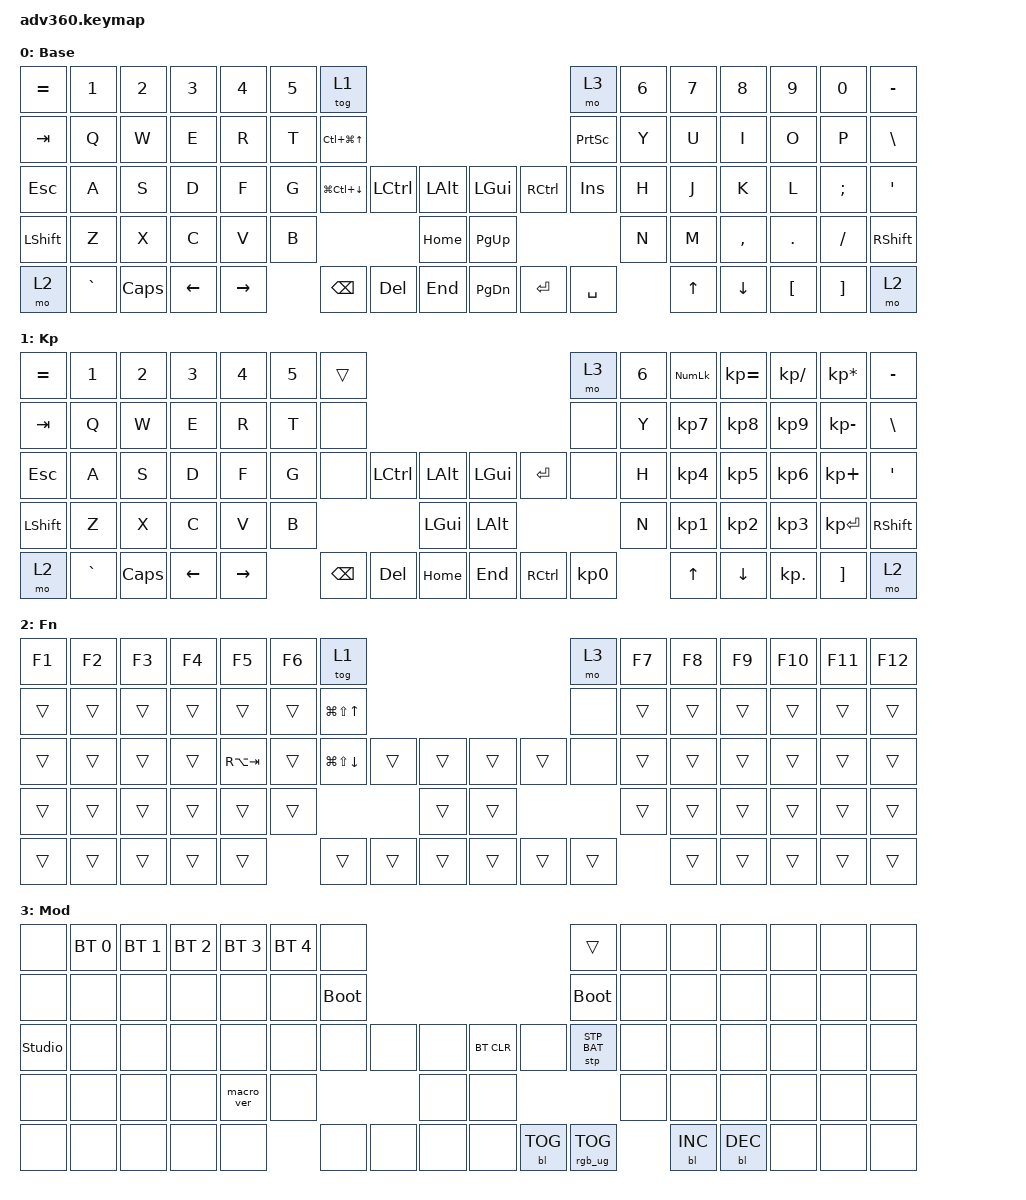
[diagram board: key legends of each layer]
#include <dt-bindings/zmk/stp.h>
#include <behaviors.dtsi>
#include <dt-bindings/zmk/backlight.h>
#include <dt-bindings/zmk/bt.h>
#include <dt-bindings/zmk/keys.h>
#include <dt-bindings/zmk/rgb.h>

/ {
    behaviors {
        #include "macros.dtsi"
      #include "version.dtsi"

        hm: homerow_mods {
            compatible = "zmk,behavior-hold-tap";
            label = "HOMEROW_MODS";
            #binding-cells = <2>;
            tapping-term-ms = <200>;
            quick_tap_ms = <175>;
            flavor = "tap-preferred";
            bindings = <&kp>, <&kp>;
        };
    };

    macros {
        workspace_up: workspace_up {
            compatible = "zmk,behavior-macro";
            #binding-cells = <0>;
            bindings = <&kp RCTRL &kp LGUI &kp UP>, <&macro_press>;

            label = "WORKSPACE_UP";
        };

        workspace_down: workspace_down {
            compatible = "zmk,behavior-macro";
            #binding-cells = <0>;
            bindings = <&kp RCTRL &kp LGUI &kp DOWN>;
            label = "WORKSPACE_DOWN";
        };

        move_to_workspace_up: move_to_workspace_up {
            compatible = "zmk,behavior-macro";
            #binding-cells = <0>;
            bindings = <&kp LEFT_SHIFT &kp LGUI &kp UP_ARROW>;
            label = "MOVE_TO_WORKSPACE_UP";
        };

        move_to_workspace_down: move_to_workspace_down {
            compatible = "zmk,behavior-macro";
            #binding-cells = <0>;
            bindings = <&kp LEFT_SHIFT &kp LEFT_GUI &kp DOWN>;
            label = "MOVE_TO_WORKSPACE_DOWN";
        };
    };

    keymap {
        compatible = "zmk,keymap";

        default_layer {
            display-name = "Base";
            bindings = <
&kp EQUAL  &kp N1     &kp N2    &kp N3    &kp N4     &kp N5  &tog 1                                                                   &mo 3            &kp N6  &kp N7  &kp N8     &kp N9    &kp N0    &kp MINUS
&kp TAB    &kp Q      &kp W     &kp E     &kp R      &kp T   &kp LC(LG(UP_ARROW))                                                     &kp PRINTSCREEN  &kp Y   &kp U   &kp I      &kp O     &kp P     &kp BSLH
&kp ESC    &kp A      &kp S     &kp D     &kp F      &kp G   &kp LG(LC(DOWN))      &kp LCTRL  &kp LALT      &kp LGUI       &kp RCTRL  &kp INS          &kp H   &kp J   &kp K      &kp L     &kp SEMI  &kp SQT
&kp LSHFT  &kp Z      &kp X     &kp C     &kp V      &kp B                                    &kp HOME      &kp PG_UP                                  &kp N   &kp M   &kp COMMA  &kp DOT   &kp FSLH  &kp RSHFT
&mo 2      &kp GRAVE  &kp CAPS  &kp LEFT  &kp RIGHT          &kp BSPC              &kp DEL    &kp END       &kp PAGE_DOWN  &kp ENTER  &kp SPACE                &kp UP  &kp DOWN   &kp LBKT  &kp RBKT  &mo 2
            >;
        };

        keypad {
            display-name = "Kp";
            bindings = <
&kp EQUAL  &kp N1     &kp N2    &kp N3    &kp N4     &kp N5  &trans                                                  &mo 3      &kp N6  &kp KP_NUM  &kp KP_EQUAL  &kp KP_DIVIDE  &kp KP_MULTIPLY  &kp MINUS
&kp TAB    &kp Q      &kp W     &kp E     &kp R      &kp T   &none                                                   &none      &kp Y   &kp KP_N7   &kp KP_N8     &kp KP_N9      &kp KP_MINUS     &kp BSLH
&kp ESC    &kp A      &kp S     &kp D     &kp F      &kp G   &none     &kp LCTRL  &kp LALT      &kp LGUI  &kp ENTER  &none      &kp H   &kp KP_N4   &kp KP_N5     &kp KP_N6      &kp KP_PLUS      &kp SQT
&kp LSHFT  &kp Z      &kp X     &kp C     &kp V      &kp B                        &kp LGUI      &kp LALT                        &kp N   &kp KP_N1   &kp KP_N2     &kp KP_N3      &kp KP_ENTER     &kp RSHFT
&mo 2      &kp GRAVE  &kp CAPS  &kp LEFT  &kp RIGHT          &kp BSPC  &kp DEL    &kp HOME      &kp END   &kp RCTRL  &kp KP_N0          &kp UP      &kp DOWN      &kp KP_DOT     &kp RBKT         &mo 2
            >;
        };

        fn {
            display-name = "Fn";
            bindings = <
&kp F1  &kp F2  &kp F3  &kp F4  &kp F5       &kp F6  &tog 1                                                    &mo 3   &kp F7  &kp F8  &kp F9  &kp F10  &kp F11  &kp F12
&trans  &trans  &trans  &trans  &trans       &trans  &kp LG(LS(UP_ARROW))                                      &none   &trans  &trans  &trans  &trans   &trans   &trans
&trans  &trans  &trans  &trans  &kp RA(TAB)  &trans  &kp LG(LS(DOWN))      &trans  &trans      &trans  &trans  &none   &trans  &trans  &trans  &trans   &trans   &trans
&trans  &trans  &trans  &trans  &trans       &trans                                &trans      &trans                  &trans  &trans  &trans  &trans   &trans   &trans
&trans  &trans  &trans  &trans  &trans               &trans                &trans  &trans      &trans  &trans  &trans          &trans  &trans  &trans   &trans   &trans
            >;
        };

        mod {
            display-name = "Mod";
            bindings = <
&none           &bt BT_SEL 0  &bt BT_SEL 1  &bt BT_SEL 2  &bt BT_SEL 3  &bt BT_SEL 4  &none                                                  &trans           &none  &none       &none       &none  &none  &none
&none           &none         &none         &none         &none         &none         &bootloader                                            &bootloader      &none  &none       &none       &none  &none  &none
&studio_unlock  &none         &none         &none         &none         &none         &none        &none  &none      &bt BT_CLR  &none       &stp STP_BAT     &none  &none       &none       &none  &none  &none
&none           &none         &none         &none         &macro_ver    &none                             &none      &none                                    &none  &none       &none       &none  &none  &none
&none           &none         &none         &none         &none                       &none        &none  &none      &none       &bl BL_TOG  &rgb_ug RGB_TOG         &bl BL_INC  &bl BL_DEC  &none  &none  &none
            >;
        };

        extra1 {
            display-name = "Red";
            status = "reserved";
        };

        extra2 {
            display-name = "Purple";
            status = "reserved";
        };

        extra3 {
            display-name = "Cyan";
            status = "reserved";
        };

        extra4 {
            display-name = "Yellow";
            status = "reserved";
        };
    };
};
